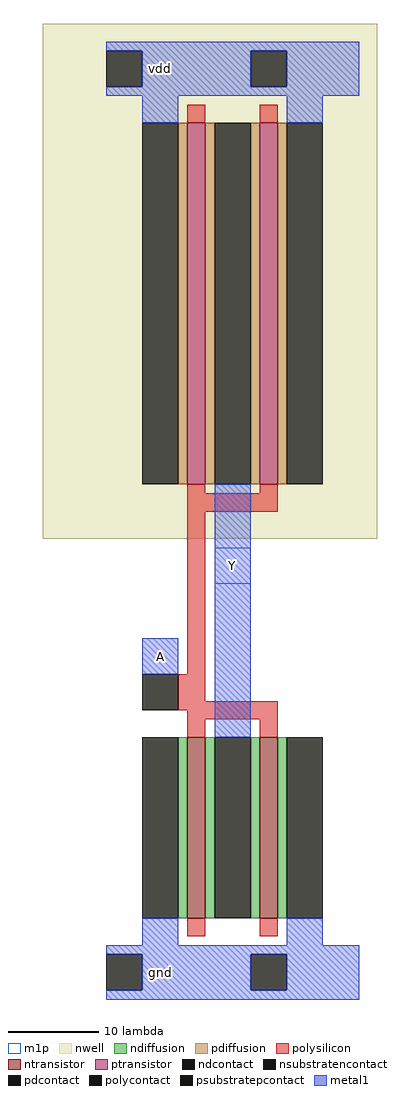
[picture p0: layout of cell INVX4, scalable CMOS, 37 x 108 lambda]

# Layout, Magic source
magic
tech scmos
<< nwell >>
rect -9 48 28 105
<< ntransistor >>
rect 7 6 9 26
rect 15 6 17 26
<< ptransistor >>
rect 7 54 9 94
rect 15 54 17 94
<< ndiffusion >>
rect 6 6 7 26
rect 9 6 10 26
rect 14 6 15 26
rect 17 6 18 26
<< pdiffusion >>
rect 6 54 7 94
rect 9 54 10 94
rect 14 54 15 94
rect 17 54 18 94
<< ndcontact >>
rect 2 6 6 26
rect 10 6 14 26
rect 18 6 22 26
<< pdcontact >>
rect 2 54 6 94
rect 10 54 14 94
rect 18 54 22 94
<< psubstratepcontact >>
rect -2 -2 2 2
rect 14 -2 18 2
<< nsubstratencontact >>
rect -2 98 2 102
rect 14 98 18 102
<< polysilicon >>
rect 7 94 9 96
rect 15 94 17 96
rect 7 53 9 54
rect 15 53 17 54
rect 7 51 17 53
rect 7 33 9 51
rect 6 30 9 33
rect 6 29 17 30
rect 7 28 17 29
rect 7 26 9 28
rect 15 26 17 28
rect 7 4 9 6
rect 15 4 17 6
<< polycontact >>
rect 2 29 6 33
<< metal1 >>
rect -2 102 26 103
rect 2 98 14 102
rect 18 98 26 102
rect -2 97 26 98
rect 2 94 6 97
rect 18 94 22 97
rect 2 33 6 37
rect 10 26 14 54
rect 2 3 6 6
rect 18 3 22 6
rect -2 2 26 3
rect 2 -2 14 2
rect 18 -2 26 2
rect -2 -3 26 -2
<< m1p >>
rect 10 43 14 47
rect 2 33 6 37
<< labels >>
rlabel metal1 4 100 4 100 6 vdd
rlabel metal1 4 0 4 0 8 gnd
rlabel m1p 12 45 12 45 6 Y
rlabel m1p 4 35 4 35 6 A
<< end >>
